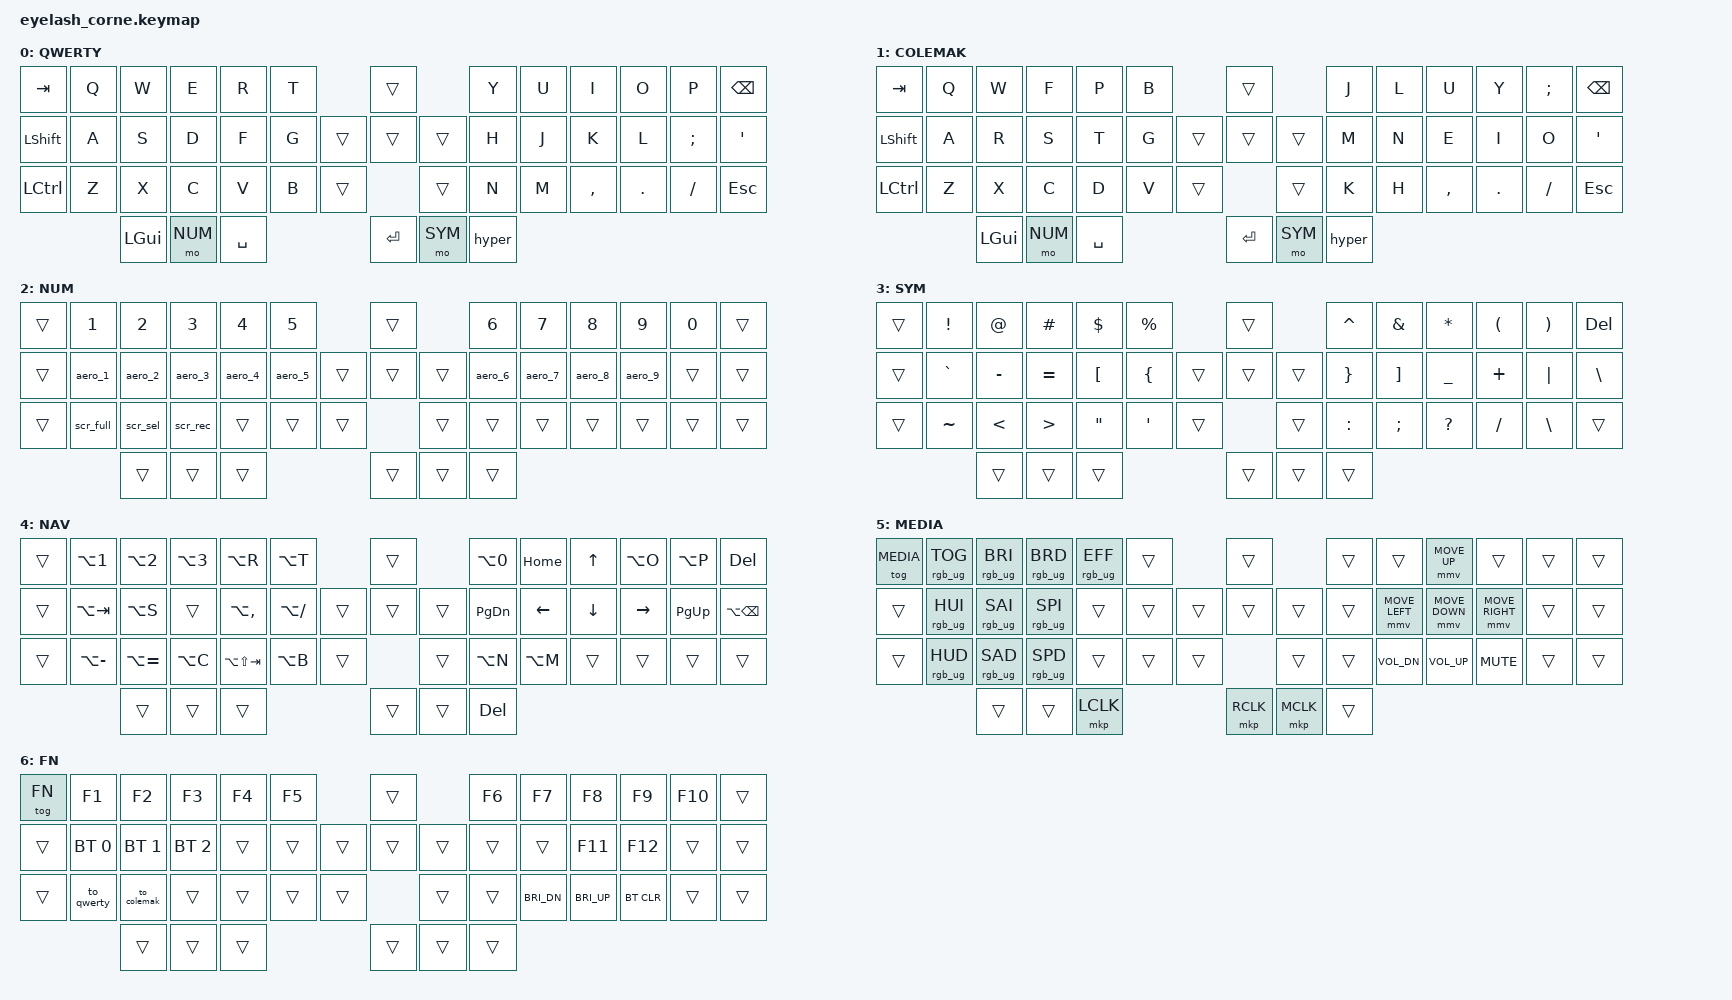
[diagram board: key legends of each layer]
#include <behaviors.dtsi>
#include <dt-bindings/zmk/keys.h>
#include <dt-bindings/zmk/bt.h>
#include <dt-bindings/zmk/mouse.h>
#include <dt-bindings/zmk/rgb.h>
#include <dt-bindings/zmk/outputs.h>

#define QWERTY  0
#define COLEMAK 1
#define NUM     2
#define SYM     3
#define NAV     4
#define MEDIA   5
#define FN      6

/ {
    combos {
        compatible = "zmk,combos";

        combo_fn {
            timeout-ms = <50>;
            key-positions = <1 11>;
            bindings = <&tog FN>;
        };
        // Z key (29) + / key (40) — bottom-left and bottom-right physical keys
        combo_media {
            timeout-ms = <50>;
            key-positions = <29 40>;
            bindings = <&tog MEDIA>;
        };
        // Both middle thumbs together → NAV (positions 43 and 46)
        combo_nav {
            timeout-ms = <75>;
            key-positions = <43 46>;
            bindings = <&mo NAV>;
        };
    };

    behaviors {
        // Thumb layer tap — FIXED (removed stray &kp LGUI)
        lt_thumb: layer_tap_thumb {
            compatible = "zmk,behavior-hold-tap";
            #binding-cells = <2>;
            tapping-term-ms = <180>;
            flavor = "hold-preferred";
            bindings = <&mo>, <&kp>;
        };
    };

    macros {
        // Native Hyper macro — right outer thumb sends this directly
        // Karabiner kept only for scroll-wheel (Ctrl + mouse motion)
        hyper: hyper_key {
            compatible = "zmk,behavior-macro";
            #binding-cells = <0>;
            bindings
                = <&macro_press &kp LCTRL &kp LALT &kp LGUI &kp LSHFT>
                , <&macro_pause_for_release>
                , <&macro_release &kp LCTRL &kp LALT &kp LGUI &kp LSHFT>;
        };

        aero_1: aero_1 { compatible = "zmk,behavior-macro"; #binding-cells = <0>;
            bindings = <&macro_press &kp LCTRL &kp LALT &kp LGUI &kp LSHFT>
                      , <&macro_tap &kp N1>
                      , <&macro_release &kp LCTRL &kp LALT &kp LGUI &kp LSHFT>; };
        aero_2: aero_2 { compatible = "zmk,behavior-macro"; #binding-cells = <0>;
            bindings = <&macro_press &kp LCTRL &kp LALT &kp LGUI &kp LSHFT>
                      , <&macro_tap &kp N2>
                      , <&macro_release &kp LCTRL &kp LALT &kp LGUI &kp LSHFT>; };
        aero_3: aero_3 { compatible = "zmk,behavior-macro"; #binding-cells = <0>;
            bindings = <&macro_press &kp LCTRL &kp LALT &kp LGUI &kp LSHFT>
                      , <&macro_tap &kp N3>
                      , <&macro_release &kp LCTRL &kp LALT &kp LGUI &kp LSHFT>; };
        aero_4: aero_4 { compatible = "zmk,behavior-macro"; #binding-cells = <0>;
            bindings = <&macro_press &kp LCTRL &kp LALT &kp LGUI &kp LSHFT>
                      , <&macro_tap &kp N4>
                      , <&macro_release &kp LCTRL &kp LALT &kp LGUI &kp LSHFT>; };
        aero_5: aero_5 { compatible = "zmk,behavior-macro"; #binding-cells = <0>;
            bindings = <&macro_press &kp LCTRL &kp LALT &kp LGUI &kp LSHFT>
                      , <&macro_tap &kp N5>
                      , <&macro_release &kp LCTRL &kp LALT &kp LGUI &kp LSHFT>; };
        aero_6: aero_6 { compatible = "zmk,behavior-macro"; #binding-cells = <0>;
            bindings = <&macro_press &kp LCTRL &kp LALT &kp LGUI &kp LSHFT>
                      , <&macro_tap &kp N6>
                      , <&macro_release &kp LCTRL &kp LALT &kp LGUI &kp LSHFT>; };
        aero_7: aero_7 { compatible = "zmk,behavior-macro"; #binding-cells = <0>;
            bindings = <&macro_press &kp LCTRL &kp LALT &kp LGUI &kp LSHFT>
                      , <&macro_tap &kp N7>
                      , <&macro_release &kp LCTRL &kp LALT &kp LGUI &kp LSHFT>; };
        aero_8: aero_8 { compatible = "zmk,behavior-macro"; #binding-cells = <0>;
            bindings = <&macro_press &kp LCTRL &kp LALT &kp LGUI &kp LSHFT>
                      , <&macro_tap &kp N8>
                      , <&macro_release &kp LCTRL &kp LALT &kp LGUI &kp LSHFT>; };
        aero_9: aero_9 { compatible = "zmk,behavior-macro"; #binding-cells = <0>;
            bindings = <&macro_press &kp LCTRL &kp LALT &kp LGUI &kp LSHFT>
                      , <&macro_tap &kp N9>
                      , <&macro_release &kp LCTRL &kp LALT &kp LGUI &kp LSHFT>; };

        scr_full: screenshot_full {
            compatible = "zmk,behavior-macro";
            #binding-cells = <0>;
            bindings = <&macro_press &kp LGUI &kp LSHFT>
                      , <&macro_tap &kp N3>
                      , <&macro_release &kp LGUI &kp LSHFT>;
        };
        scr_sel: screenshot_select {
            compatible = "zmk,behavior-macro";
            #binding-cells = <0>;
            bindings = <&macro_press &kp LGUI &kp LSHFT>
                      , <&macro_tap &kp N4>
                      , <&macro_release &kp LGUI &kp LSHFT>;
        };
        scr_rec: screenshot_recorder {
            compatible = "zmk,behavior-macro";
            #binding-cells = <0>;
            bindings = <&macro_press &kp LGUI &kp LSHFT>
                      , <&macro_tap &kp N5>
                      , <&macro_release &kp LGUI &kp LSHFT>;
        };

        to_qwerty:  to_qwerty  { compatible = "zmk,behavior-macro"; #binding-cells = <0>; bindings = <&to QWERTY>; };
        to_colemak: to_colemak { compatible = "zmk,behavior-macro"; #binding-cells = <0>; bindings = <&to COLEMAK>; };
    };

    keymap {
        compatible = "zmk,keymap";

        // ══════════════════════════════════════════════════════
        // LAYER 0 — QWERTY
        // Left middle thumb  = &mo NUM
        // Right middle thumb = &mo SYM
        // Both middle thumbs tapped together → NAV (combo)
        // Inner thumbs = SPACE (left) / ENTER (right)
        // Right outer thumb = Hyper (native ZMK)
        // ══════════════════════════════════════════════════════
        qwerty_layer {
            display-name = "QWERTY";
            bindings = <
// Row 0: 12 alpha + 1 encoder
&kp TAB    &kp Q  &kp W  &kp E  &kp R  &kp T           &trans         &kp Y  &kp U  &kp I      &kp O    &kp P     &kp BSPC
// Row 1: 12 alpha + 3 encoder
&kp LSHFT  &kp A  &kp S  &kp D  &kp F  &kp G  &trans   &trans  &trans &kp H  &kp J  &kp K      &kp L    &kp SEMI  &kp SQT
// Row 2: 12 alpha + 2 encoder
&kp LCTRL  &kp Z  &kp X  &kp C  &kp V  &kp B  &trans          &trans  &kp N  &kp M  &kp COMMA  &kp DOT  &kp FSLH  &kp ESC
// Thumbs: CMD | NUM | SPC    ENT | SYM | Hyper
                   &kp LGUI  &mo NUM  &kp SPACE   &kp RET  &mo SYM  &hyper
            >;
        };

        // ══════════════════════════════════════════════════════
        // LAYER 1 — COLEMAK-DH
        // ══════════════════════════════════════════════════════
        colemak_layer {
            display-name = "COLEMAK";
            bindings = <
&kp TAB    &kp Q  &kp W  &kp F  &kp P  &kp B           &trans         &kp J  &kp L  &kp U      &kp Y    &kp SEMI  &kp BSPC
&kp LSHFT  &kp A  &kp R  &kp S  &kp T  &kp G  &trans   &trans  &trans &kp M  &kp N  &kp E      &kp I    &kp O     &kp SQT
&kp LCTRL  &kp Z  &kp X  &kp C  &kp D  &kp V  &trans          &trans  &kp K  &kp H  &kp COMMA  &kp DOT  &kp FSLH  &kp ESC
                    &kp LGUI  &mo NUM  &kp SPACE   &kp RET  &mo SYM  &hyper
            >;
        };

        // ══════════════════════════════════════════════════════
        // LAYER 2 — NUM
        // ══════════════════════════════════════════════════════
        num_layer {
            display-name = "NUM";
            bindings = <
&trans  &kp N1    &kp N2   &kp N3  &kp N4  &kp N5          &trans         &kp N6  &kp N7  &kp N8  &kp N9  &kp N0  &trans
&trans  &aero_1   &aero_2  &aero_3 &aero_4 &aero_5 &trans  &trans  &trans &aero_6 &aero_7 &aero_8 &aero_9 &trans  &trans
&trans  &scr_full &scr_sel &scr_rec &trans  &trans  &trans         &trans  &trans  &trans  &trans  &trans  &trans  &trans
                            &trans  &trans  &trans                          &trans  &trans  &trans
            >;
        };

        // ══════════════════════════════════════════════════════
        // LAYER 3 — SYM
        // ══════════════════════════════════════════════════════
        sym_layer {
            display-name = "SYM";
            bindings = <
&trans  &kp EXCL   &kp AT     &kp HASH  &kp DLLR  &kp PRCNT         &trans         &kp CARET &kp AMPS  &kp ASTRK &kp LPAR  &kp RPAR  &kp DEL
&trans  &kp GRAVE  &kp MINUS  &kp EQUAL &kp LBKT  &kp LBRC  &trans  &trans  &trans &kp RBRC  &kp RBKT  &kp UNDER &kp PLUS  &kp PIPE  &kp BSLH
&trans  &kp TILDE  &kp LT     &kp GT    &kp DQT   &kp SQT   &trans          &trans &kp COLON &kp SEMI  &kp QMARK &kp FSLH  &kp BSLH  &trans
                               &trans    &trans    &trans                            &trans    &trans    &trans
            >;
        };

        // ══════════════════════════════════════════════════════
        // LAYER 4 — NAV  (hold left-mid + right-mid thumb)
        //
        // AeroSpace workspace switching — mnemonic key positions:
        //   Left top:  ws:1  ws:2  ws:3  ws:R  ws:T
        //   Left home: bk-fth ws:S  ---  lyt↔  lyt|
        //   Left bot:  rsz-  rsz+  ws:C  mv-ws→mon  ws:B
        //   Right top: ws:0  HOME  UP    ws:O  ws:P  DEL
        //   Right home: PG_DN ←    ↓     →    PG_UP del-word
        //   Right bot:  ws:N  ws:M  ---   ---   ---
        //
        // Shift compounds naturally: shift + ws:X → move-node-to-workspace X
        // Ctrl compounds:            ctrl  + ←/→  → focus-monitor left/right
        // ══════════════════════════════════════════════════════
        nav_layer {
            display-name = "NAV";
            bindings = <
// Row 0
&trans  &kp LA(N1)     &kp LA(N2)     &kp LA(N3)  &kp LA(R)      &kp LA(T)        &trans         &kp LA(N0)  &kp HOME  &kp UP    &kp LA(O)  &kp LA(P)  &kp DEL
// Row 1
&trans  &kp LA(TAB)    &kp LA(S)      &trans      &kp LA(COMMA)  &kp LA(SLASH)    &trans  &trans  &trans     &kp PG_DN &kp LEFT  &kp DOWN   &kp RIGHT  &kp PG_UP  &kp LA(BSPC)
// Row 2
&trans  &kp LA(MINUS)  &kp LA(EQUAL)  &kp LA(C)   &kp LA(LS(TAB))  &kp LA(B)     &trans          &trans     &kp LA(N) &kp LA(M) &trans     &trans     &trans     &trans
// Thumbs
                        &trans  &trans  &trans                          &trans  &trans  &kp DEL
            >;
        };

        // ══════════════════════════════════════════════════════
        // LAYER 5 — MEDIA
        // ══════════════════════════════════════════════════════
        media_layer {
            display-name = "MEDIA";
            bindings = <
&tog MEDIA &rgb_ug RGB_TOG &rgb_ug RGB_BRI &rgb_ug RGB_BRD &rgb_ug RGB_EFF &trans           &trans         &trans &trans         &mmv MOVE_UP   &trans          &trans &trans
&trans     &rgb_ug RGB_HUI &rgb_ug RGB_SAI &rgb_ug RGB_SPI &trans          &trans  &trans   &trans  &trans  &trans &mmv MOVE_LEFT &mmv MOVE_DOWN &mmv MOVE_RIGHT &trans &trans
&trans     &rgb_ug RGB_HUD &rgb_ug RGB_SAD &rgb_ug RGB_SPD &trans          &trans  &trans           &trans  &trans &kp C_VOL_DN   &kp C_VOL_UP   &kp C_MUTE      &trans &trans
                                            &trans          &trans          &mkp LCLK                        &mkp RCLK &mkp MCLK  &trans
            >;
        };

        // ══════════════════════════════════════════════════════
        // LAYER 6 — FN
        // ══════════════════════════════════════════════════════
        fn_layer {
            display-name = "FN";
            bindings = <
&tog FN &kp F1       &kp F2       &kp F3       &kp F4  &kp F5          &trans         &kp F6  &kp F7       &kp F8       &kp F9      &kp F10 &trans
&trans  &bt BT_SEL 0 &bt BT_SEL 1 &bt BT_SEL 2 &trans  &trans  &trans  &trans  &trans  &trans  &trans       &kp F11      &kp F12     &trans  &trans
&trans  &to_qwerty   &to_colemak  &trans       &trans  &trans  &trans          &trans  &trans  &kp C_BRI_DN &kp C_BRI_UP &bt BT_CLR  &trans  &trans
                                   &trans       &trans  &trans                          &trans  &trans       &trans
            >;
        };
    };
};
